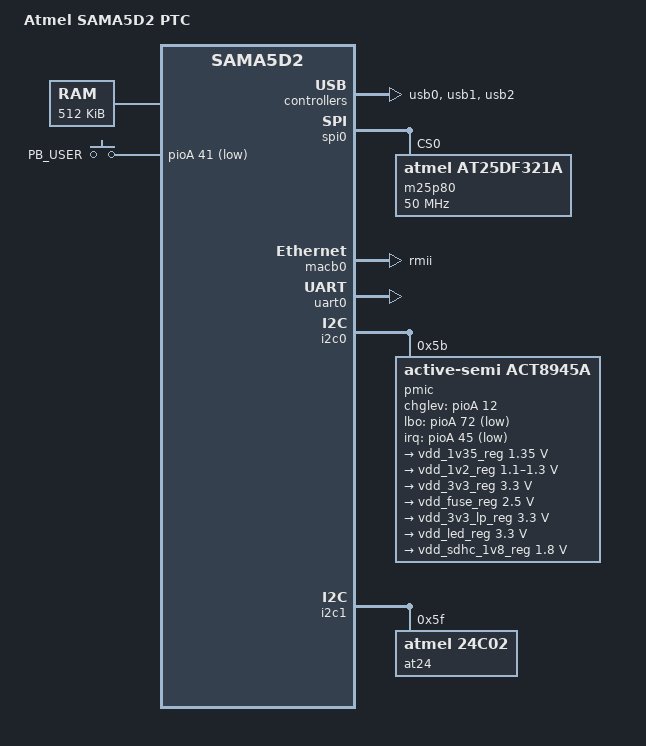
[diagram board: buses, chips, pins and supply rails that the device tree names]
/*
 * at91-sama5d2_ptc.dts - Device Tree file for SAMA5D2 PTC board
 *
 *  Copyright (C) 2015 Atmel,
 *                2015 Wenyou Yang <wenyou.yang@atmel.com>
 *
 * This file is dual-licensed: you can use it either under the terms
 * of the GPL or the X11 license, at your option. Note that this dual
 * licensing only applies to this file, and not this project as a
 * whole.
 *
 *  a) This file is free software; you can redistribute it and/or
 *     modify it under the terms of the GNU General Public License as
 *     published by the Free Software Foundation; either version 2 of the
 *     License, or (at your option) any later version.
 *
 *     This file is distributed in the hope that it will be useful,
 *     but WITHOUT ANY WARRANTY; without even the implied warranty of
 *     MERCHANTABILITY or FITNESS FOR A PARTICULAR PURPOSE.  See the
 *     GNU General Public License for more details.
 *
 * Or, alternatively,
 *
 *  b) Permission is hereby granted, free of charge, to any person
 *     obtaining a copy of this software and associated documentation
 *     files (the "Software"), to deal in the Software without
 *     restriction, including without limitation the rights to use,
 *     copy, modify, merge, publish, distribute, sublicense, and/or
 *     sell copies of the Software, and to permit persons to whom the
 *     Software is furnished to do so, subject to the following
 *     conditions:
 *
 *     The above copyright notice and this permission notice shall be
 *     included in all copies or substantial portions of the Software.
 *
 *     THE SOFTWARE IS PROVIDED "AS IS", WITHOUT WARRANTY OF ANY KIND,
 *     EXPRESS OR IMPLIED, INCLUDING BUT NOT LIMITED TO THE WARRANTIES
 *     OF MERCHANTABILITY, FITNESS FOR A PARTICULAR PURPOSE AND
 *     NONINFRINGEMENT. IN NO EVENT SHALL THE AUTHORS OR COPYRIGHT
 *     HOLDERS BE LIABLE FOR ANY CLAIM, DAMAGES OR OTHER LIABILITY,
 *     WHETHER IN AN ACTION OF CONTRACT, TORT OR OTHERWISE, ARISING
 *     FROM, OUT OF OR IN CONNECTION WITH THE SOFTWARE OR THE USE OR
 *     OTHER DEALINGS IN THE SOFTWARE.
 */
/dts-v1/;
#include "sama5d2.dtsi"
#include "sama5d2-pinfunc.h"
#include <dt-bindings/gpio/gpio.h>

/ {
	model = "Atmel SAMA5D2 PTC";
	compatible = "atmel,sama5d2-ptc", "atmel,sama5d2", "atmel,sama5";

	chosen {
		stdout-path = "serial0:115200n8";
	};

	memory {
		reg = <0x20000000 0x80000>;
	};

	clocks {
		#address-cells = <1>;
		#size-cells = <1>;
		ranges;

		main_clock: clock@0 {
			compatible = "atmel,osc", "fixed-clock";
			clock-frequency = <12000000>;
		};

		slow_xtal {
			clock-frequency = <32768>;
		};

		main_xtal {
			clock-frequency = <12000000>;
		};
	};

	ahb {
		usb0: gadget@00300000 {
			atmel,vbus-gpio = <&pioA 27 GPIO_ACTIVE_HIGH>;
			pinctrl-names = "default";
			pinctrl-0 = <&pinctrl_usba_vbus>;
			status = "okay";
		};

		usb1: ohci@00400000 {
			num-ports = <3>;
			atmel,vbus-gpio = <0
					   &pioA 28 GPIO_ACTIVE_HIGH
					   0
					  >;
			pinctrl-names = "default";
			pinctrl-0 = <&pinctrl_usb_default>;
			status = "okay";
		};

		usb2: ehci@00500000 {
			status = "okay";
		};

		/*
		nand0: nand@80000000 {
			nand-bus-width = <8>;
			nand-ecc-mode = "hw";
			nand-on-flash-bbt;
			pinctrl-names = "default";
			pinctrl-0 = <&pinctrl_nand_default>;
			status = "okay";

			bootstrap@0 {
				label = "bootstrap";
				reg = <0x0 0x600000>;
			};

			kernel@200000 {
				label = "kernel";
				reg = <0x600000 0x600000>;
			};

			rootfs@800000 {
				label = "rootfs";
				reg = <0xc00000 0x0f800000>;
			};
		};
		*/

		apb {
			spi0: spi@f8000000 {
				pinctrl-names = "default";
				pinctrl-0 = <&pinctrl_spi0_default>;
				status = "okay";

				m25p80@0 {
					compatible = "atmel,at25df321a";
					reg = <0>;
					spi-max-frequency = <50000000>;
				};
			};

			macb0: ethernet@f8008000 {
				pinctrl-names = "default";
				pinctrl-0 = <&pinctrl_macb0_rmii>;
				phy-mode = "rmii";
				status = "okay";
			};

			uart0: serial@f801c000 {
				pinctrl-names = "default";
				pinctrl-0 = <&pinctrl_uart0_default>;
				status = "okay";
			};

			i2c0: i2c@f8028000 {
				dmas = <0>, <0>;
				pinctrl-names = "default";
				pinctrl-0 = <&pinctrl_i2c0_default>;
				i2c-sda-hold-time-ns = <350>;
				status = "okay";

				pmic@5b {
					compatible = "active-semi,act8945a";
					reg = <0x5b>;
					active-semi,vsel-high;
					active-semi,chglev-gpios = <&pioA 12 GPIO_ACTIVE_HIGH>;
					active-semi,lbo-gpios = <&pioA 72 GPIO_ACTIVE_LOW>;
					active-semi,irq_gpios = <&pioA 45 GPIO_ACTIVE_LOW>;
					active-semi,input-voltage-threshold-microvolt = <6600>;
					active-semi,precondition-timeout = <40>;
					active-semi,total-timeout = <3>;
					pinctrl-names = "default";
					pinctrl-0 = <&pinctrl_charger_chglev &pinctrl_charger_lbo &pinctrl_charger_irq>;
					status = "okay";

					regulators {
						vdd_1v35_reg: REG_DCDC1 {
							regulator-name = "VDD_1V35";
							regulator-min-microvolt = <1350000>;
							regulator-max-microvolt = <1350000>;
							regulator-always-on;
						};

						vdd_1v2_reg: REG_DCDC2 {
							regulator-name = "VDD_1V2";
							regulator-min-microvolt = <1100000>;
							regulator-max-microvolt = <1300000>;
							regulator-always-on;
						};

						vdd_3v3_reg: REG_DCDC3 {
							regulator-name = "VDD_3V3";
							regulator-min-microvolt = <3300000>;
							regulator-max-microvolt = <3300000>;
							regulator-always-on;
						};

						vdd_fuse_reg: REG_LDO1 {
							regulator-name = "VDD_FUSE";
							regulator-min-microvolt = <2500000>;
							regulator-max-microvolt = <2500000>;
							regulator-always-on;
						};

						vdd_3v3_lp_reg: REG_LDO2 {
							regulator-name = "VDD_3V3_LP";
							regulator-min-microvolt = <3300000>;
							regulator-max-microvolt = <3300000>;
							regulator-always-on;
						};

						vdd_led_reg: REG_LDO3 {
							regulator-name = "VDD_LED";
							regulator-min-microvolt = <3300000>;
							regulator-max-microvolt = <3300000>;
							regulator-always-on;
						};

						vdd_sdhc_1v8_reg: REG_LDO4 {
							regulator-name = "VDD_SDHC_1V8";
							regulator-min-microvolt = <1800000>;
							regulator-max-microvolt = <1800000>;
							regulator-always-on;
						};
					};
				};
			};

			shdwc@f8048010 {
				atmel,shdwc-debouncer = <976>;

				input@0 {
					reg = <0>;
					atmel,wakeup-type = "low";
				};
			};

			i2c1: i2c@fc028000 {
				dmas = <0>, <0>;
				pinctrl-names = "default";
				pinctrl-0 = <&pinctrl_i2c1_default>;
				status = "okay";

				at24@54 {
					compatible = "atmel,24c02";
					reg = <0x5f>;
					pagesize = <16>;
				};
			};

			pinctrl@fc038000 {
				pinctrl_charger_chglev: charger_chglev {
					pinmux = <PIN_PA12__GPIO>;
					bias-disable;
				};

				pinctrl_charger_irq: charger_irq {
					pinmux = <PIN_PB13__GPIO>;
					bias-disable;
				};

				pinctrl_charger_lbo: charger_lbo {
					pinmux = <PIN_PC8__GPIO>;
					bias-pull-up;
				};

				pinctrl_i2c0_default: i2c0_default {
					pinmux = <PIN_PD21__TWD0>,
						 <PIN_PD22__TWCK0>;
					bias-disable;
				};

				pinctrl_i2c1_default: i2c1_default {
					pinmux = <PIN_PC6__TWD1>,
						 <PIN_PC7__TWCK1>;
					bias-disable;
				};

				pinctrl_key_gpio_default: key_gpio_default {
					pinmux = <PIN_PB9__GPIO>;
					bias-pull-up;
				};

				pinctrl_led_gpio_default: led_gpio_default {
					pinmux = <PIN_PD11__GPIO>,
						 <PIN_PD12__GPIO>,
						 <PIN_PC0__GPIO>,
						 <PIN_PC1__GPIO>,
						 <PIN_PD17__GPIO>,
						 <PIN_PD18__GPIO>,
						 <PIN_PD16__GPIO>,
						 <PIN_PC2__GPIO>,
						 <PIN_PD7__GPIO>,
						 <PIN_PD8__GPIO>,
						 <PIN_PD9__GPIO>,
						 <PIN_PD10__GPIO>,
						 <PIN_PC4__GPIO>;
					bias-pull-up;
				};

				pinctrl_macb0_rmii: macb0_rmii {
					pinmux = <PIN_PB14__GTXCK>,
						 <PIN_PB15__GTXEN>,
						 <PIN_PB16__GRXDV>,
						 <PIN_PB17__GRXER>,
						 <PIN_PB18__GRX0>,
						 <PIN_PB19__GRX1>,
						 <PIN_PB20__GTX0>,
						 <PIN_PB21__GTX1>,
						 <PIN_PB22__GMDC>,
						 <PIN_PB23__GMDIO>;
					bias-disable;
				};

				pinctrl_nand_default: nand_default {
					pinmux = <PIN_PA8__NWE_NANDWE>,
						 <PIN_PA9__NCS3>,
						 <PIN_PA10__A21_NANDALE>,
						 <PIN_PA11__A22_NANDCLE>,
						 <PIN_PA12__NRD_NANDOE>,
						 <PIN_PA21__NANDRDY>,
						 <PIN_PA0__D0>,
						 <PIN_PA1__D1>,
						 <PIN_PA2__D2>,
						 <PIN_PA3__D3>,
						 <PIN_PA4__D4>,
						 <PIN_PA5__D5>,
						 <PIN_PA6__D6>,
						 <PIN_PA7__D7>;
					bias-disable;
				};

				/*
				 * There is no real pinmux for PTC, if the pin
				 * is not requested by another peripheral then
				 * the muxing is done when device is activated.
				 * Requesting pins for PTC as GPIO is
				 * encouraged to prevent conflicts and to
				 * disable bias in order to be in the same
				 * state when the pin is not muxed to the PTC.
				 */
				pinctrl_ptc_default: ptc_default {
					pinmux = <PIN_PD3__GPIO>,
						 <PIN_PD4__GPIO>,
						 <PIN_PD5__GPIO>,
						 <PIN_PD6__GPIO>,
						 <PIN_PD11__GPIO>,
						 <PIN_PD12__GPIO>,
						 <PIN_PD13__GPIO>,
						 <PIN_PD14__GPIO>;
					bias-disable;
				};


				pinctrl_spi0_default: spi0_default {
					pinmux = <PIN_PA14__SPI0_SPCK>,
						 <PIN_PA15__SPI0_MOSI>,
						 <PIN_PA16__SPI0_MISO>,
						 <PIN_PA17__SPI0_NPCS0>;
					bias-disable;
				};

				pinctrl_uart0_default: uart0_default {
					pinmux = <PIN_PB26__URXD0>,
						 <PIN_PB27__UTXD0>;
					bias-disable;
				};

				pinctrl_usb_default: usb_default {
					pinmux = <PIN_PA28__GPIO>;
					bias-disable;
				};

				pinctrl_usba_vbus: usba_vbus {
					pinmux = <PIN_PA27__GPIO>;
					bias-disable;
				};
			};

			ptc@fc060000 {
				atmel,acq-type = "mutual";
				pinctrl-names = "default";
				pinctrl-0 = <&pinctrl_ptc_default>;
				status = "okay";
				#address-cells = <1>;
				#size-cells = <0>;

				button@0 {
					reg = <0>;
					linux,keycode = <1>;
				};

				button@1 {
					reg = <1>;
					linux,keycode = <2>;
				};

				button@2 {
					reg = <2>;
					linux,keycode = <3>;
				};

				button@3 {
					reg = <3>;
					linux,keycode = <4>;
				};

				button@4 {
					reg = <4>;
					linux,keycode = <5>;
				};

				button@5 {
					reg = <5>;
					linux,keycode = <6>;
				};

				button@6 {
					reg = <6>;
					linux,keycode = <7>;
				};

				button@7 {
					reg = <7>;
					linux,keycode = <8>;
				};

				button@8 {
					reg = <8>;
					linux,keycode = <9>;
				};

				button@9 {
					reg = <9>;
					linux,keycode = <10>;
				};

				button@10 {
					reg = <10>;
					linux,keycode = <11>;
				};

				button@11 {
					reg = <11>;
					linux,keycode = <12>;
				};

				button@12 {
					reg = <12>;
					linux,keycode = <13>;
				};

				button@13 {
					reg = <13>;
					linux,keycode = <14>;
				};

				button@14 {
					reg = <14>;
					linux,keycode = <15>;
				};

				button@15 {
					reg = <15>;
					linux,keycode = <16>;
				};
			};
		};
	};

	gpio_keys {
		compatible = "gpio-keys";

		pinctrl-names = "default";
		pinctrl-0 = <&pinctrl_key_gpio_default>;

		bp1 {
			label = "PB_USER";
			gpios = <&pioA 41 GPIO_ACTIVE_LOW>;
			linux,code = <0x104>;
		};
	};
};
